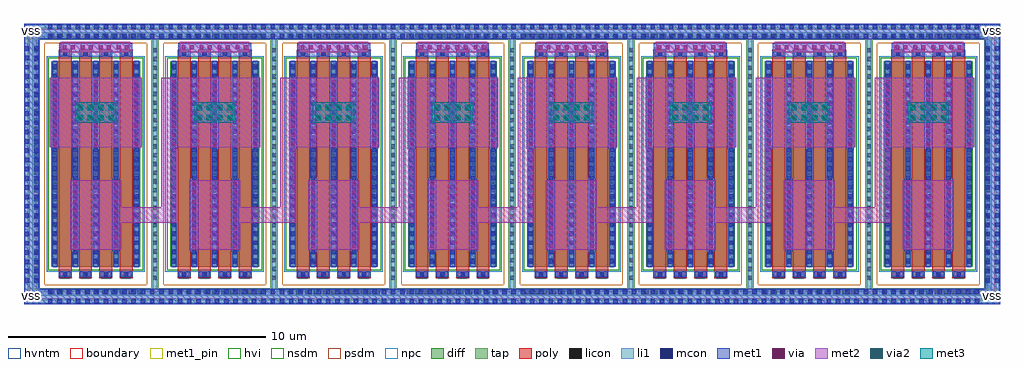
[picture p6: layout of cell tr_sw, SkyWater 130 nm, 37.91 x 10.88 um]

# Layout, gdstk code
from math import pi, radians
import gdstk
lib = gdstk.Library(unit=1e-6, precision=1e-09)
def R(c, l, rs):  # rectangles x0, y0, x1, y1
    for r in rs: c.add(gdstk.rectangle(r[:2], r[2:], *l))
def A(c, l, x, y, w, h, nx, ny, dx, dy):  # array of equal rectangles
    R(c, l, [(x+i*dx, y+j*dy, x+i*dx+w, y+j*dy+h) for i in range(nx) for j in range(ny)])
diff = (65, 20)
tap = (65, 44)
poly = (66, 20)
licon = (66, 44)
li1 = (67, 20)
mcon = (67, 44)
met1_pin = (68, 16)
met1 = (68, 20)
via = (68, 44)
met2 = (69, 20)
via2 = (69, 44)
met3 = (70, 20)
hvi = (75, 20)
nsdm = (93, 44)
psdm = (94, 20)
npc = (95, 20)
hvntm = (125, 20)
boundary = (235, 4)

via__li_m1 = lib.new_cell('via__LI_M1')
R(via__li_m1, li1, [(0.03,0.03,0.56,0.2)])
R(via__li_m1, mcon, [(0.03,0.03,0.2,0.2), (0.39,0.03,0.56,0.2)])
R(via__li_m1, met1, [(0,0,0.59,0.23)])

via__m2_m3 = lib.new_cell('via__M2_M3')
R(via__m2_m3, met2, [(0,0,0.8,0.4)])
R(via__m2_m3, via2, [(0.1,0.1,0.3,0.3), (0.1,0.1,0.3,0.3), (0.5,0.1,0.7,0.3), (0.5,0.1,0.7,0.3)])
R(via__m2_m3, met3, [(0,0,0.8,0.4)])

via__m1_m2 = lib.new_cell('via__M1_M2')
R(via__m1_m2, met1, [(0,0.05,0.7,0.35)])
R(via__m1_m2, via, [(0.115,0.125,0.265,0.275), (0.435,0.125,0.585,0.275)])
R(via__m1_m2, met2, [(0.05,0,0.65,0.4)])

tr_ds_cont = lib.new_cell('tr_ds_cont')
R(tr_ds_cont, met2, [(0,0.05,0.4,2.75)])
tr_ds_cont.add(gdstk.Reference(via__m1_m2, (0,0.7), rotation=3*pi/2))
tr_ds_cont.add(gdstk.Reference(via__m1_m2, (0,1.4), rotation=3*pi/2))
tr_ds_cont.add(gdstk.Reference(via__m1_m2, (0,2.1), rotation=3*pi/2))
tr_ds_cont.add(gdstk.Reference(via__m1_m2, (0,2.8), rotation=3*pi/2))

tr_gate_cont = lib.new_cell('tr_gate_cont')
R(tr_gate_cont, met1, [(0,0,2.83,0.53)])
R(tr_gate_cont, met2, [(0.065,0.18,2.765,0.58)])
tr_gate_cont.add(gdstk.Reference(via__m1_m2, (0.015,0.18)))
tr_gate_cont.add(gdstk.Reference(via__m1_m2, (0.715,0.18)))
tr_gate_cont.add(gdstk.Reference(via__m1_m2, (1.415,0.18)))
tr_gate_cont.add(gdstk.Reference(via__m1_m2, (2.115,0.18)))

sky130_fd_pr__nfet_g5v0d = lib.new_cell('sky130_fd_pr__nfet_g5v0d10v5_ZFHBSA')
R(sky130_fd_pr__nfet_g5v0d, diff, [(0.915,1.295,4.365,9.295)])
R(sky130_fd_pr__nfet_g5v0d, tap, [(0.185,0.185,5.095,0.475), (0.185,0.475,0.475,10.115), (4.805,0.475,5.095,10.115), (0.185,10.115,5.095,10.405)])
A(sky130_fd_pr__nfet_g5v0d, poly, 1.205, 0.855, 0.5, 8.88, 4, 1, 0.79, 0)
A(sky130_fd_pr__nfet_g5v0d, licon, 0.855, 0.245, 0.17, 0.17, 11, 2, 0.34, 9.93)
A(sky130_fd_pr__nfet_g5v0d, licon, 0.245, 0.79, 0.17, 0.17, 1, 27, 0, 0.34)
A(sky130_fd_pr__nfet_g5v0d, licon, 4.865, 0.79, 0.17, 0.17, 1, 27, 0, 0.34)
A(sky130_fd_pr__nfet_g5v0d, licon, 1.37, 0.935, 0.17, 0.17, 4, 2, 0.79, 8.55)
A(sky130_fd_pr__nfet_g5v0d, licon, 0.975, 1.47, 0.17, 0.17, 5, 23, 0.79, 0.34)
A(sky130_fd_pr__nfet_g5v0d, li1, 1.205, 0.935, 0.5, 0.17, 4, 2, 0.79, 8.55)
A(sky130_fd_pr__nfet_g5v0d, li1, 0.975, 1.275, 0.17, 8.04, 5, 1, 0.79, 0)
R(sky130_fd_pr__nfet_g5v0d, li1, [(0.245,0.245,5.035,0.415), (0.245,0.415,0.415,10.175), (4.865,0.415,5.035,10.175), (0.245,10.175,5.035,10.345)])
A(sky130_fd_pr__nfet_g5v0d, mcon, 1.37, 0.935, 0.17, 0.17, 4, 2, 0.79, 8.55)
A(sky130_fd_pr__nfet_g5v0d, mcon, 0.975, 1.43, 0.17, 0.17, 5, 22, 0.79, 0.36)
A(sky130_fd_pr__nfet_g5v0d, met1, 1.225, 0.905, 0.46, 0.23, 4, 2, 0.79, 8.55)
A(sky130_fd_pr__nfet_g5v0d, met1, 0.945, 1.295, 0.23, 8, 5, 1, 0.79, 0)
R(sky130_fd_pr__nfet_g5v0d, hvi, [(0,0,5.28,10.59)])
R(sky130_fd_pr__nfet_g5v0d, nsdm, [(0.79,1.17,4.49,9.42)])
R(sky130_fd_pr__nfet_g5v0d, psdm, [(0.06,0.06,5.22,0.6), (0.06,0.6,0.66,9.99), (4.62,0.6,5.22,9.99), (0.06,9.99,5.22,10.53)])
A(sky130_fd_pr__nfet_g5v0d, npc, 1.27, 0.835, 0.37, 0.37, 4, 2, 0.79, 8.55)
R(sky130_fd_pr__nfet_g5v0d, hvntm, [(0.73,1.11,4.55,9.48)])
R(sky130_fd_pr__nfet_g5v0d, boundary, [(0.33,0.33,4.95,10.26)])

tr_sw = lib.new_cell('tr_sw')
R(tr_sw, li1, [(-0.115,-0.115,0.415,10.705), (-0.115,-0.115,37.735,0.415), (37.205,-0.115,37.735,10.705), (-0.115,10.175,37.735,10.705)])
R(tr_sw, met1_pin, [(-0.145,-0.145,0.44,0.44), (37.18,-0.145,37.765,0.44), (-0.145,10.15,0.44,10.735), (37.18,10.15,37.765,10.735)])
R(tr_sw, met1, [(-0.145,-0.145,0.445,10.735), (-0.145,-0.145,37.765,0.445), (37.175,-0.145,37.765,10.735), (-0.145,10.145,37.765,10.735)])
A(tr_sw, met2, 1.65, 1.965, 1.98, 2.7, 8, 1, 4.62, 0)
A(tr_sw, met2, 2.05, 2.665, 1.18, 1.3, 8, 2, 4.62, 3.975)
A(tr_sw, met2, 0.86, 5.94, 3.56, 2.7, 8, 1, 4.62, 0)
A(tr_sw, met2, 1.26, 6.64, 2.76, 1.3, 8, 1, 4.62, 0)
tr_sw.add(gdstk.FlexPath([(2.64,3.965),(2.64,2.665)], 0.8, ends="flush", simple_path=True, layer=69, datatype=20))  # met2
tr_sw.add(gdstk.FlexPath([(7.26,3.965),(7.26,2.665)], 0.8, ends="flush", simple_path=True, layer=69, datatype=20))  # met2
tr_sw.add(gdstk.FlexPath([(11.88,3.965),(11.88,2.665)], 0.8, ends="flush", simple_path=True, layer=69, datatype=20))  # met2
tr_sw.add(gdstk.FlexPath([(16.5,3.965),(16.5,2.665)], 0.8, ends="flush", simple_path=True, layer=69, datatype=20))  # met2
tr_sw.add(gdstk.FlexPath([(21.12,3.965),(21.12,2.665)], 0.8, ends="flush", simple_path=True, layer=69, datatype=20))  # met2
tr_sw.add(gdstk.FlexPath([(25.74,3.965),(25.74,2.665)], 0.8, ends="flush", simple_path=True, layer=69, datatype=20))  # met2
tr_sw.add(gdstk.FlexPath([(30.36,3.965),(30.36,2.665)], 0.8, ends="flush", simple_path=True, layer=69, datatype=20))  # met2
tr_sw.add(gdstk.FlexPath([(34.98,3.965),(34.98,2.665)], 0.8, ends="flush", simple_path=True, layer=69, datatype=20))  # met2
tr_sw.add(gdstk.FlexPath([(7.9,3.315),(10.1,3.315),(10.1,8.64)], 0.6, ends="flush", simple_path=True, layer=69, datatype=20))  # met2
tr_sw.add(gdstk.FlexPath([(3.58,3.315),(5.48,3.315),(5.48,8.64)], 0.6, ends="flush", simple_path=True, layer=69, datatype=20))  # met2
tr_sw.add(gdstk.FlexPath([(12.82,3.315),(14.72,3.315),(14.72,8.64)], 0.6, ends="flush", simple_path=True, layer=69, datatype=20))  # met2
tr_sw.add(gdstk.FlexPath([(17.44,3.315),(19.34,3.315),(19.34,8.64)], 0.6, ends="flush", simple_path=True, layer=69, datatype=20))  # met2
tr_sw.add(gdstk.FlexPath([(22.06,3.315),(23.96,3.315),(23.96,8.64)], 0.6, ends="flush", simple_path=True, layer=69, datatype=20))  # met2
tr_sw.add(gdstk.FlexPath([(26.68,3.315),(28.58,3.315),(28.58,8.64)], 0.6, ends="flush", simple_path=True, layer=69, datatype=20))  # met2
tr_sw.add(gdstk.FlexPath([(31.3,3.315),(33.2,3.315),(33.2,8.64)], 0.6, ends="flush", simple_path=True, layer=69, datatype=20))  # met2
tr_sw.add(gdstk.FlexPath([(2.64,7.69),(2.64,6.89)], 0.8, ends="flush", simple_path=True, layer=70, datatype=20))  # met3
tr_sw.add(gdstk.FlexPath([(7.26,7.69),(7.26,6.89)], 0.8, ends="flush", simple_path=True, layer=70, datatype=20))  # met3
tr_sw.add(gdstk.FlexPath([(11.88,7.69),(11.88,6.89)], 0.8, ends="flush", simple_path=True, layer=70, datatype=20))  # met3
tr_sw.add(gdstk.FlexPath([(16.5,7.69),(16.5,6.89)], 0.8, ends="flush", simple_path=True, layer=70, datatype=20))  # met3
tr_sw.add(gdstk.FlexPath([(21.12,7.69),(21.12,6.89)], 0.8, ends="flush", simple_path=True, layer=70, datatype=20))  # met3
tr_sw.add(gdstk.FlexPath([(25.74,7.69),(25.74,6.89)], 0.8, ends="flush", simple_path=True, layer=70, datatype=20))  # met3
tr_sw.add(gdstk.FlexPath([(30.36,7.69),(30.36,6.89)], 0.8, ends="flush", simple_path=True, layer=70, datatype=20))  # met3
tr_sw.add(gdstk.FlexPath([(34.98,7.69),(34.98,6.89)], 0.8, ends="flush", simple_path=True, layer=70, datatype=20))  # met3
tr_sw.add(gdstk.Reference(via__li_m1, (0.445,0.89), rotation=pi))
tr_sw.add(gdstk.Reference(via__li_m1, (37.765,0.89), rotation=pi))
tr_sw.add(gdstk.Reference(via__li_m1, (0.445,1.25), rotation=pi))
tr_sw.add(gdstk.Reference(via__li_m1, (37.765,1.25), rotation=pi))
tr_sw.add(gdstk.Reference(via__li_m1, (0.445,1.61), rotation=pi))
tr_sw.add(gdstk.Reference(via__li_m1, (37.765,1.61), rotation=pi))
tr_sw.add(gdstk.Reference(via__li_m1, (0.445,1.97), rotation=pi))
tr_sw.add(gdstk.Reference(via__li_m1, (37.765,1.97), rotation=pi))
tr_sw.add(gdstk.Reference(via__li_m1, (0.445,2.33), rotation=pi))
tr_sw.add(gdstk.Reference(via__li_m1, (37.765,2.33), rotation=pi))
tr_sw.add(gdstk.Reference(via__li_m1, (0.445,2.69), rotation=pi))
tr_sw.add(gdstk.Reference(via__li_m1, (37.765,2.69), rotation=pi))
tr_sw.add(gdstk.Reference(via__li_m1, (0.445,3.05), rotation=pi))
tr_sw.add(gdstk.Reference(via__li_m1, (37.765,3.05), rotation=pi))
tr_sw.add(gdstk.Reference(via__li_m1, (0.445,3.41), rotation=pi))
tr_sw.add(gdstk.Reference(via__li_m1, (37.765,3.41), rotation=pi))
tr_sw.add(gdstk.Reference(via__li_m1, (0.445,3.77), rotation=pi))
tr_sw.add(gdstk.Reference(via__li_m1, (37.765,3.77), rotation=pi))
tr_sw.add(gdstk.Reference(via__li_m1, (0.445,4.13), rotation=pi))
tr_sw.add(gdstk.Reference(via__li_m1, (37.765,4.13), rotation=pi))
tr_sw.add(gdstk.Reference(via__li_m1, (0.445,4.49), rotation=pi))
tr_sw.add(gdstk.Reference(via__li_m1, (37.765,4.49), rotation=pi))
tr_sw.add(gdstk.Reference(via__li_m1, (0.445,4.85), rotation=pi))
tr_sw.add(gdstk.Reference(via__li_m1, (37.765,4.85), rotation=pi))
tr_sw.add(gdstk.Reference(via__li_m1, (0.445,5.21), rotation=pi))
tr_sw.add(gdstk.Reference(via__li_m1, (37.765,5.21), rotation=pi))
tr_sw.add(gdstk.Reference(via__li_m1, (0.445,5.57), rotation=pi))
tr_sw.add(gdstk.Reference(via__li_m1, (37.765,5.57), rotation=pi))
tr_sw.add(gdstk.Reference(via__li_m1, (0.445,5.93), rotation=pi))
tr_sw.add(gdstk.Reference(via__li_m1, (37.765,5.93), rotation=pi))
tr_sw.add(gdstk.Reference(via__li_m1, (0.445,6.29), rotation=pi))
tr_sw.add(gdstk.Reference(via__li_m1, (37.765,6.29), rotation=pi))
tr_sw.add(gdstk.Reference(via__li_m1, (0.445,6.65), rotation=pi))
tr_sw.add(gdstk.Reference(via__li_m1, (37.765,6.65), rotation=pi))
tr_sw.add(gdstk.Reference(via__li_m1, (0.445,7.01), rotation=pi))
tr_sw.add(gdstk.Reference(via__li_m1, (37.765,7.01), rotation=pi))
tr_sw.add(gdstk.Reference(via__li_m1, (0.445,7.37), rotation=pi))
tr_sw.add(gdstk.Reference(via__li_m1, (37.765,7.37), rotation=pi))
tr_sw.add(gdstk.Reference(via__li_m1, (0.445,7.73), rotation=pi))
tr_sw.add(gdstk.Reference(via__li_m1, (37.765,7.73), rotation=pi))
tr_sw.add(gdstk.Reference(via__li_m1, (0.445,8.09), rotation=pi))
tr_sw.add(gdstk.Reference(via__li_m1, (37.765,8.09), rotation=pi))
tr_sw.add(gdstk.Reference(via__li_m1, (0.445,8.45), rotation=pi))
tr_sw.add(gdstk.Reference(via__li_m1, (37.765,8.45), rotation=pi))
tr_sw.add(gdstk.Reference(via__li_m1, (0.445,8.81), rotation=pi))
tr_sw.add(gdstk.Reference(via__li_m1, (37.765,8.81), rotation=pi))
tr_sw.add(gdstk.Reference(via__li_m1, (0.445,9.17), rotation=pi))
tr_sw.add(gdstk.Reference(via__li_m1, (37.765,9.17), rotation=pi))
tr_sw.add(gdstk.Reference(via__li_m1, (0.445,9.53), rotation=pi))
tr_sw.add(gdstk.Reference(via__li_m1, (37.765,9.53), rotation=pi))
tr_sw.add(gdstk.Reference(via__li_m1, (0.445,9.89), rotation=pi))
tr_sw.add(gdstk.Reference(via__li_m1, (37.765,9.89), rotation=pi))
tr_sw.add(gdstk.Reference(via__m2_m3, (1.84,7.69), rotation=3*pi/2))
tr_sw.add(gdstk.Reference(via__m2_m3, (2.24,7.69), rotation=3*pi/2))
tr_sw.add(gdstk.Reference(via__m2_m3, (2.64,7.69), rotation=3*pi/2))
tr_sw.add(gdstk.Reference(via__m2_m3, (3.04,7.69), rotation=3*pi/2))
tr_sw.add(gdstk.Reference(via__m2_m3, (6.46,7.69), rotation=3*pi/2))
tr_sw.add(gdstk.Reference(via__m2_m3, (6.86,7.69), rotation=3*pi/2))
tr_sw.add(gdstk.Reference(via__m2_m3, (7.26,7.69), rotation=3*pi/2))
tr_sw.add(gdstk.Reference(via__m2_m3, (7.66,7.69), rotation=3*pi/2))
tr_sw.add(gdstk.Reference(via__m2_m3, (11.08,7.69), rotation=3*pi/2))
tr_sw.add(gdstk.Reference(via__m2_m3, (11.48,7.69), rotation=3*pi/2))
tr_sw.add(gdstk.Reference(via__m2_m3, (11.88,7.69), rotation=3*pi/2))
tr_sw.add(gdstk.Reference(via__m2_m3, (12.28,7.69), rotation=3*pi/2))
tr_sw.add(gdstk.Reference(via__m2_m3, (15.7,7.69), rotation=3*pi/2))
tr_sw.add(gdstk.Reference(via__m2_m3, (16.1,7.69), rotation=3*pi/2))
tr_sw.add(gdstk.Reference(via__m2_m3, (16.5,7.69), rotation=3*pi/2))
tr_sw.add(gdstk.Reference(via__m2_m3, (16.9,7.69), rotation=3*pi/2))
tr_sw.add(gdstk.Reference(via__m2_m3, (20.32,7.69), rotation=3*pi/2))
tr_sw.add(gdstk.Reference(via__m2_m3, (20.72,7.69), rotation=3*pi/2))
tr_sw.add(gdstk.Reference(via__m2_m3, (21.12,7.69), rotation=3*pi/2))
tr_sw.add(gdstk.Reference(via__m2_m3, (21.52,7.69), rotation=3*pi/2))
tr_sw.add(gdstk.Reference(via__m2_m3, (24.94,7.69), rotation=3*pi/2))
tr_sw.add(gdstk.Reference(via__m2_m3, (25.34,7.69), rotation=3*pi/2))
tr_sw.add(gdstk.Reference(via__m2_m3, (25.74,7.69), rotation=3*pi/2))
tr_sw.add(gdstk.Reference(via__m2_m3, (26.14,7.69), rotation=3*pi/2))
tr_sw.add(gdstk.Reference(via__m2_m3, (29.56,7.69), rotation=3*pi/2))
tr_sw.add(gdstk.Reference(via__m2_m3, (29.96,7.69), rotation=3*pi/2))
tr_sw.add(gdstk.Reference(via__m2_m3, (30.36,7.69), rotation=3*pi/2))
tr_sw.add(gdstk.Reference(via__m2_m3, (30.76,7.69), rotation=3*pi/2))
tr_sw.add(gdstk.Reference(via__m2_m3, (34.18,7.69), rotation=3*pi/2))
tr_sw.add(gdstk.Reference(via__m2_m3, (34.58,7.69), rotation=3*pi/2))
tr_sw.add(gdstk.Reference(via__m2_m3, (34.98,7.69), rotation=3*pi/2))
tr_sw.add(gdstk.Reference(via__m2_m3, (35.38,7.69), rotation=3*pi/2))
tr_sw.add(gdstk.Reference(tr_ds_cont, (1.65,1.915)))
tr_sw.add(gdstk.Reference(tr_ds_cont, (3.23,1.915)))
tr_sw.add(gdstk.Reference(tr_ds_cont, (6.27,1.915)))
tr_sw.add(gdstk.Reference(tr_ds_cont, (7.85,1.915)))
tr_sw.add(gdstk.Reference(tr_ds_cont, (10.89,1.915)))
tr_sw.add(gdstk.Reference(tr_ds_cont, (12.47,1.915)))
tr_sw.add(gdstk.Reference(tr_ds_cont, (15.51,1.915)))
tr_sw.add(gdstk.Reference(tr_ds_cont, (17.09,1.915)))
tr_sw.add(gdstk.Reference(tr_ds_cont, (20.13,1.915)))
tr_sw.add(gdstk.Reference(tr_ds_cont, (21.71,1.915)))
tr_sw.add(gdstk.Reference(tr_ds_cont, (24.75,1.915)))
tr_sw.add(gdstk.Reference(tr_ds_cont, (26.33,1.915)))
tr_sw.add(gdstk.Reference(tr_ds_cont, (29.37,1.915)))
tr_sw.add(gdstk.Reference(tr_ds_cont, (30.95,1.915)))
tr_sw.add(gdstk.Reference(tr_ds_cont, (33.99,1.915)))
tr_sw.add(gdstk.Reference(tr_ds_cont, (35.57,1.915)))
tr_sw.add(gdstk.Reference(tr_ds_cont, (0.86,5.89)))
tr_sw.add(gdstk.Reference(tr_ds_cont, (2.44,5.89)))
tr_sw.add(gdstk.Reference(tr_ds_cont, (4.02,5.89)))
tr_sw.add(gdstk.Reference(tr_ds_cont, (5.48,5.89)))
tr_sw.add(gdstk.Reference(tr_ds_cont, (7.06,5.89)))
tr_sw.add(gdstk.Reference(tr_ds_cont, (8.64,5.89)))
tr_sw.add(gdstk.Reference(tr_ds_cont, (10.1,5.89)))
tr_sw.add(gdstk.Reference(tr_ds_cont, (11.68,5.89)))
tr_sw.add(gdstk.Reference(tr_ds_cont, (13.26,5.89)))
tr_sw.add(gdstk.Reference(tr_ds_cont, (14.72,5.89)))
tr_sw.add(gdstk.Reference(tr_ds_cont, (16.3,5.89)))
tr_sw.add(gdstk.Reference(tr_ds_cont, (17.88,5.89)))
tr_sw.add(gdstk.Reference(tr_ds_cont, (19.34,5.89)))
tr_sw.add(gdstk.Reference(tr_ds_cont, (20.92,5.89)))
tr_sw.add(gdstk.Reference(tr_ds_cont, (22.5,5.89)))
tr_sw.add(gdstk.Reference(tr_ds_cont, (23.96,5.89)))
tr_sw.add(gdstk.Reference(tr_ds_cont, (25.54,5.89)))
tr_sw.add(gdstk.Reference(tr_ds_cont, (27.12,5.89)))
tr_sw.add(gdstk.Reference(tr_ds_cont, (28.58,5.89)))
tr_sw.add(gdstk.Reference(tr_ds_cont, (30.16,5.89)))
tr_sw.add(gdstk.Reference(tr_ds_cont, (31.74,5.89)))
tr_sw.add(gdstk.Reference(tr_ds_cont, (33.2,5.89)))
tr_sw.add(gdstk.Reference(tr_ds_cont, (34.78,5.89)))
tr_sw.add(gdstk.Reference(tr_ds_cont, (36.36,5.89)))
tr_sw.add(gdstk.Reference(tr_gate_cont, (1.225,9.455)))
tr_sw.add(gdstk.Reference(tr_gate_cont, (5.845,9.455)))
tr_sw.add(gdstk.Reference(tr_gate_cont, (10.465,9.455)))
tr_sw.add(gdstk.Reference(tr_gate_cont, (15.085,9.455)))
tr_sw.add(gdstk.Reference(tr_gate_cont, (19.705,9.455)))
tr_sw.add(gdstk.Reference(tr_gate_cont, (24.325,9.455)))
tr_sw.add(gdstk.Reference(tr_gate_cont, (28.945,9.455)))
tr_sw.add(gdstk.Reference(tr_gate_cont, (33.565,9.455)))
tr_sw.add(gdstk.Reference(via__li_m1, (0.76,0.445), rotation=3*pi/2))
tr_sw.add(gdstk.Reference(via__li_m1, (1.12,0.445), rotation=3*pi/2))
tr_sw.add(gdstk.Reference(via__li_m1, (1.48,0.445), rotation=3*pi/2))
tr_sw.add(gdstk.Reference(via__li_m1, (1.84,0.445), rotation=3*pi/2))
tr_sw.add(gdstk.Reference(via__li_m1, (2.2,0.445), rotation=3*pi/2))
tr_sw.add(gdstk.Reference(via__li_m1, (2.56,0.445), rotation=3*pi/2))
tr_sw.add(gdstk.Reference(via__li_m1, (2.92,0.445), rotation=3*pi/2))
tr_sw.add(gdstk.Reference(via__li_m1, (3.28,0.445), rotation=3*pi/2))
tr_sw.add(gdstk.Reference(via__li_m1, (3.64,0.445), rotation=3*pi/2))
tr_sw.add(gdstk.Reference(via__li_m1, (4,0.445), rotation=3*pi/2))
tr_sw.add(gdstk.Reference(via__li_m1, (4.36,0.445), rotation=3*pi/2))
tr_sw.add(gdstk.Reference(via__li_m1, (4.72,0.445), rotation=3*pi/2))
tr_sw.add(gdstk.Reference(via__li_m1, (5.08,0.445), rotation=3*pi/2))
tr_sw.add(gdstk.Reference(via__li_m1, (5.44,0.445), rotation=3*pi/2))
tr_sw.add(gdstk.Reference(via__li_m1, (5.8,0.445), rotation=3*pi/2))
tr_sw.add(gdstk.Reference(via__li_m1, (6.16,0.445), rotation=3*pi/2))
tr_sw.add(gdstk.Reference(via__li_m1, (6.52,0.445), rotation=3*pi/2))
tr_sw.add(gdstk.Reference(via__li_m1, (6.88,0.445), rotation=3*pi/2))
tr_sw.add(gdstk.Reference(via__li_m1, (7.24,0.445), rotation=3*pi/2))
tr_sw.add(gdstk.Reference(via__li_m1, (7.6,0.445), rotation=3*pi/2))
tr_sw.add(gdstk.Reference(via__li_m1, (7.96,0.445), rotation=3*pi/2))
tr_sw.add(gdstk.Reference(via__li_m1, (8.32,0.445), rotation=3*pi/2))
tr_sw.add(gdstk.Reference(via__li_m1, (8.68,0.445), rotation=3*pi/2))
tr_sw.add(gdstk.Reference(via__li_m1, (9.04,0.445), rotation=3*pi/2))
tr_sw.add(gdstk.Reference(via__li_m1, (9.4,0.445), rotation=3*pi/2))
tr_sw.add(gdstk.Reference(via__li_m1, (9.76,0.445), rotation=3*pi/2))
tr_sw.add(gdstk.Reference(via__li_m1, (10.12,0.445), rotation=3*pi/2))
tr_sw.add(gdstk.Reference(via__li_m1, (10.48,0.445), rotation=3*pi/2))
tr_sw.add(gdstk.Reference(via__li_m1, (10.84,0.445), rotation=3*pi/2))
tr_sw.add(gdstk.Reference(via__li_m1, (11.2,0.445), rotation=3*pi/2))
tr_sw.add(gdstk.Reference(via__li_m1, (11.56,0.445), rotation=3*pi/2))
tr_sw.add(gdstk.Reference(via__li_m1, (11.92,0.445), rotation=3*pi/2))
tr_sw.add(gdstk.Reference(via__li_m1, (12.28,0.445), rotation=3*pi/2))
tr_sw.add(gdstk.Reference(via__li_m1, (12.64,0.445), rotation=3*pi/2))
tr_sw.add(gdstk.Reference(via__li_m1, (13,0.445), rotation=3*pi/2))
tr_sw.add(gdstk.Reference(via__li_m1, (13.36,0.445), rotation=3*pi/2))
tr_sw.add(gdstk.Reference(via__li_m1, (13.72,0.445), rotation=3*pi/2))
tr_sw.add(gdstk.Reference(via__li_m1, (14.08,0.445), rotation=3*pi/2))
tr_sw.add(gdstk.Reference(via__li_m1, (14.44,0.445), rotation=3*pi/2))
tr_sw.add(gdstk.Reference(via__li_m1, (14.8,0.445), rotation=3*pi/2))
tr_sw.add(gdstk.Reference(via__li_m1, (15.16,0.445), rotation=3*pi/2))
tr_sw.add(gdstk.Reference(via__li_m1, (15.52,0.445), rotation=3*pi/2))
tr_sw.add(gdstk.Reference(via__li_m1, (15.88,0.445), rotation=3*pi/2))
tr_sw.add(gdstk.Reference(via__li_m1, (16.24,0.445), rotation=3*pi/2))
tr_sw.add(gdstk.Reference(via__li_m1, (16.6,0.445), rotation=3*pi/2))
tr_sw.add(gdstk.Reference(via__li_m1, (16.96,0.445), rotation=3*pi/2))
tr_sw.add(gdstk.Reference(via__li_m1, (17.32,0.445), rotation=3*pi/2))
tr_sw.add(gdstk.Reference(via__li_m1, (17.68,0.445), rotation=3*pi/2))
tr_sw.add(gdstk.Reference(via__li_m1, (18.04,0.445), rotation=3*pi/2))
tr_sw.add(gdstk.Reference(via__li_m1, (18.4,0.445), rotation=3*pi/2))
tr_sw.add(gdstk.Reference(via__li_m1, (18.76,0.445), rotation=3*pi/2))
tr_sw.add(gdstk.Reference(via__li_m1, (19.12,0.445), rotation=3*pi/2))
tr_sw.add(gdstk.Reference(via__li_m1, (19.48,0.445), rotation=3*pi/2))
tr_sw.add(gdstk.Reference(via__li_m1, (19.84,0.445), rotation=3*pi/2))
tr_sw.add(gdstk.Reference(via__li_m1, (20.2,0.445), rotation=3*pi/2))
tr_sw.add(gdstk.Reference(via__li_m1, (20.56,0.445), rotation=3*pi/2))
tr_sw.add(gdstk.Reference(via__li_m1, (20.92,0.445), rotation=3*pi/2))
tr_sw.add(gdstk.Reference(via__li_m1, (21.28,0.445), rotation=3*pi/2))
tr_sw.add(gdstk.Reference(via__li_m1, (21.64,0.445), rotation=3*pi/2))
tr_sw.add(gdstk.Reference(via__li_m1, (22,0.445), rotation=3*pi/2))
tr_sw.add(gdstk.Reference(via__li_m1, (22.36,0.445), rotation=3*pi/2))
tr_sw.add(gdstk.Reference(via__li_m1, (22.72,0.445), rotation=3*pi/2))
tr_sw.add(gdstk.Reference(via__li_m1, (23.08,0.445), rotation=3*pi/2))
tr_sw.add(gdstk.Reference(via__li_m1, (23.44,0.445), rotation=3*pi/2))
tr_sw.add(gdstk.Reference(via__li_m1, (23.8,0.445), rotation=3*pi/2))
tr_sw.add(gdstk.Reference(via__li_m1, (24.16,0.445), rotation=3*pi/2))
tr_sw.add(gdstk.Reference(via__li_m1, (24.52,0.445), rotation=3*pi/2))
tr_sw.add(gdstk.Reference(via__li_m1, (24.88,0.445), rotation=3*pi/2))
tr_sw.add(gdstk.Reference(via__li_m1, (25.24,0.445), rotation=3*pi/2))
tr_sw.add(gdstk.Reference(via__li_m1, (25.6,0.445), rotation=3*pi/2))
tr_sw.add(gdstk.Reference(via__li_m1, (25.96,0.445), rotation=3*pi/2))
tr_sw.add(gdstk.Reference(via__li_m1, (26.32,0.445), rotation=3*pi/2))
tr_sw.add(gdstk.Reference(via__li_m1, (26.68,0.445), rotation=3*pi/2))
tr_sw.add(gdstk.Reference(via__li_m1, (27.04,0.445), rotation=3*pi/2))
tr_sw.add(gdstk.Reference(via__li_m1, (27.4,0.445), rotation=3*pi/2))
tr_sw.add(gdstk.Reference(via__li_m1, (27.76,0.445), rotation=3*pi/2))
tr_sw.add(gdstk.Reference(via__li_m1, (28.12,0.445), rotation=3*pi/2))
tr_sw.add(gdstk.Reference(via__li_m1, (28.48,0.445), rotation=3*pi/2))
tr_sw.add(gdstk.Reference(via__li_m1, (28.84,0.445), rotation=3*pi/2))
tr_sw.add(gdstk.Reference(via__li_m1, (29.2,0.445), rotation=3*pi/2))
tr_sw.add(gdstk.Reference(via__li_m1, (29.56,0.445), rotation=3*pi/2))
tr_sw.add(gdstk.Reference(via__li_m1, (29.92,0.445), rotation=3*pi/2))
tr_sw.add(gdstk.Reference(via__li_m1, (30.28,0.445), rotation=3*pi/2))
tr_sw.add(gdstk.Reference(via__li_m1, (30.64,0.445), rotation=3*pi/2))
tr_sw.add(gdstk.Reference(via__li_m1, (31,0.445), rotation=3*pi/2))
tr_sw.add(gdstk.Reference(via__li_m1, (31.36,0.445), rotation=3*pi/2))
tr_sw.add(gdstk.Reference(via__li_m1, (31.72,0.445), rotation=3*pi/2))
tr_sw.add(gdstk.Reference(via__li_m1, (32.08,0.445), rotation=3*pi/2))
tr_sw.add(gdstk.Reference(via__li_m1, (32.44,0.445), rotation=3*pi/2))
tr_sw.add(gdstk.Reference(via__li_m1, (32.8,0.445), rotation=3*pi/2))
tr_sw.add(gdstk.Reference(via__li_m1, (33.16,0.445), rotation=3*pi/2))
tr_sw.add(gdstk.Reference(via__li_m1, (33.52,0.445), rotation=3*pi/2))
tr_sw.add(gdstk.Reference(via__li_m1, (33.88,0.445), rotation=3*pi/2))
tr_sw.add(gdstk.Reference(via__li_m1, (34.24,0.445), rotation=3*pi/2))
tr_sw.add(gdstk.Reference(via__li_m1, (34.6,0.445), rotation=3*pi/2))
tr_sw.add(gdstk.Reference(via__li_m1, (34.96,0.445), rotation=3*pi/2))
tr_sw.add(gdstk.Reference(via__li_m1, (35.32,0.445), rotation=3*pi/2))
tr_sw.add(gdstk.Reference(via__li_m1, (35.68,0.445), rotation=3*pi/2))
tr_sw.add(gdstk.Reference(via__li_m1, (36.04,0.445), rotation=3*pi/2))
tr_sw.add(gdstk.Reference(via__li_m1, (36.4,0.445), rotation=3*pi/2))
tr_sw.add(gdstk.Reference(via__li_m1, (36.76,0.445), rotation=3*pi/2))
tr_sw.add(gdstk.Reference(via__li_m1, (0.76,10.735), rotation=3*pi/2))
tr_sw.add(gdstk.Reference(via__li_m1, (1.12,10.735), rotation=3*pi/2))
tr_sw.add(gdstk.Reference(via__li_m1, (1.48,10.735), rotation=3*pi/2))
tr_sw.add(gdstk.Reference(via__li_m1, (1.84,10.735), rotation=3*pi/2))
tr_sw.add(gdstk.Reference(via__li_m1, (2.2,10.735), rotation=3*pi/2))
tr_sw.add(gdstk.Reference(via__li_m1, (2.56,10.735), rotation=3*pi/2))
tr_sw.add(gdstk.Reference(via__li_m1, (2.92,10.735), rotation=3*pi/2))
tr_sw.add(gdstk.Reference(via__li_m1, (3.28,10.735), rotation=3*pi/2))
tr_sw.add(gdstk.Reference(via__li_m1, (3.64,10.735), rotation=3*pi/2))
tr_sw.add(gdstk.Reference(via__li_m1, (4,10.735), rotation=3*pi/2))
tr_sw.add(gdstk.Reference(via__li_m1, (4.36,10.735), rotation=3*pi/2))
tr_sw.add(gdstk.Reference(via__li_m1, (4.72,10.735), rotation=3*pi/2))
tr_sw.add(gdstk.Reference(via__li_m1, (5.08,10.735), rotation=3*pi/2))
tr_sw.add(gdstk.Reference(via__li_m1, (5.44,10.735), rotation=3*pi/2))
tr_sw.add(gdstk.Reference(via__li_m1, (5.8,10.735), rotation=3*pi/2))
tr_sw.add(gdstk.Reference(via__li_m1, (6.16,10.735), rotation=3*pi/2))
tr_sw.add(gdstk.Reference(via__li_m1, (6.52,10.735), rotation=3*pi/2))
tr_sw.add(gdstk.Reference(via__li_m1, (6.88,10.735), rotation=3*pi/2))
tr_sw.add(gdstk.Reference(via__li_m1, (7.24,10.735), rotation=3*pi/2))
tr_sw.add(gdstk.Reference(via__li_m1, (7.6,10.735), rotation=3*pi/2))
tr_sw.add(gdstk.Reference(via__li_m1, (7.96,10.735), rotation=3*pi/2))
tr_sw.add(gdstk.Reference(via__li_m1, (8.32,10.735), rotation=3*pi/2))
tr_sw.add(gdstk.Reference(via__li_m1, (8.68,10.735), rotation=3*pi/2))
tr_sw.add(gdstk.Reference(via__li_m1, (9.04,10.735), rotation=3*pi/2))
tr_sw.add(gdstk.Reference(via__li_m1, (9.4,10.735), rotation=3*pi/2))
tr_sw.add(gdstk.Reference(via__li_m1, (9.76,10.735), rotation=3*pi/2))
tr_sw.add(gdstk.Reference(via__li_m1, (10.12,10.735), rotation=3*pi/2))
tr_sw.add(gdstk.Reference(via__li_m1, (10.48,10.735), rotation=3*pi/2))
tr_sw.add(gdstk.Reference(via__li_m1, (10.84,10.735), rotation=3*pi/2))
tr_sw.add(gdstk.Reference(via__li_m1, (11.2,10.735), rotation=3*pi/2))
tr_sw.add(gdstk.Reference(via__li_m1, (11.56,10.735), rotation=3*pi/2))
tr_sw.add(gdstk.Reference(via__li_m1, (11.92,10.735), rotation=3*pi/2))
tr_sw.add(gdstk.Reference(via__li_m1, (12.28,10.735), rotation=3*pi/2))
tr_sw.add(gdstk.Reference(via__li_m1, (12.64,10.735), rotation=3*pi/2))
tr_sw.add(gdstk.Reference(via__li_m1, (13,10.735), rotation=3*pi/2))
tr_sw.add(gdstk.Reference(via__li_m1, (13.36,10.735), rotation=3*pi/2))
tr_sw.add(gdstk.Reference(via__li_m1, (13.72,10.735), rotation=3*pi/2))
tr_sw.add(gdstk.Reference(via__li_m1, (14.08,10.735), rotation=3*pi/2))
tr_sw.add(gdstk.Reference(via__li_m1, (14.44,10.735), rotation=3*pi/2))
tr_sw.add(gdstk.Reference(via__li_m1, (14.8,10.735), rotation=3*pi/2))
tr_sw.add(gdstk.Reference(via__li_m1, (15.16,10.735), rotation=3*pi/2))
tr_sw.add(gdstk.Reference(via__li_m1, (15.52,10.735), rotation=3*pi/2))
tr_sw.add(gdstk.Reference(via__li_m1, (15.88,10.735), rotation=3*pi/2))
tr_sw.add(gdstk.Reference(via__li_m1, (16.24,10.735), rotation=3*pi/2))
tr_sw.add(gdstk.Reference(via__li_m1, (16.6,10.735), rotation=3*pi/2))
tr_sw.add(gdstk.Reference(via__li_m1, (16.96,10.735), rotation=3*pi/2))
tr_sw.add(gdstk.Reference(via__li_m1, (17.32,10.735), rotation=3*pi/2))
tr_sw.add(gdstk.Reference(via__li_m1, (17.68,10.735), rotation=3*pi/2))
tr_sw.add(gdstk.Reference(via__li_m1, (18.04,10.735), rotation=3*pi/2))
tr_sw.add(gdstk.Reference(via__li_m1, (18.4,10.735), rotation=3*pi/2))
tr_sw.add(gdstk.Reference(via__li_m1, (18.76,10.735), rotation=3*pi/2))
tr_sw.add(gdstk.Reference(via__li_m1, (19.12,10.735), rotation=3*pi/2))
tr_sw.add(gdstk.Reference(via__li_m1, (19.48,10.735), rotation=3*pi/2))
tr_sw.add(gdstk.Reference(via__li_m1, (19.84,10.735), rotation=3*pi/2))
tr_sw.add(gdstk.Reference(via__li_m1, (20.2,10.735), rotation=3*pi/2))
tr_sw.add(gdstk.Reference(via__li_m1, (20.56,10.735), rotation=3*pi/2))
tr_sw.add(gdstk.Reference(via__li_m1, (20.92,10.735), rotation=3*pi/2))
tr_sw.add(gdstk.Reference(via__li_m1, (21.28,10.735), rotation=3*pi/2))
tr_sw.add(gdstk.Reference(via__li_m1, (21.64,10.735), rotation=3*pi/2))
tr_sw.add(gdstk.Reference(via__li_m1, (22,10.735), rotation=3*pi/2))
tr_sw.add(gdstk.Reference(via__li_m1, (22.36,10.735), rotation=3*pi/2))
tr_sw.add(gdstk.Reference(via__li_m1, (22.72,10.735), rotation=3*pi/2))
tr_sw.add(gdstk.Reference(via__li_m1, (23.08,10.735), rotation=3*pi/2))
tr_sw.add(gdstk.Reference(via__li_m1, (23.44,10.735), rotation=3*pi/2))
tr_sw.add(gdstk.Reference(via__li_m1, (23.8,10.735), rotation=3*pi/2))
tr_sw.add(gdstk.Reference(via__li_m1, (24.16,10.735), rotation=3*pi/2))
tr_sw.add(gdstk.Reference(via__li_m1, (24.52,10.735), rotation=3*pi/2))
tr_sw.add(gdstk.Reference(via__li_m1, (24.88,10.735), rotation=3*pi/2))
tr_sw.add(gdstk.Reference(via__li_m1, (25.24,10.735), rotation=3*pi/2))
tr_sw.add(gdstk.Reference(via__li_m1, (25.6,10.735), rotation=3*pi/2))
tr_sw.add(gdstk.Reference(via__li_m1, (25.96,10.735), rotation=3*pi/2))
tr_sw.add(gdstk.Reference(via__li_m1, (26.32,10.735), rotation=3*pi/2))
tr_sw.add(gdstk.Reference(via__li_m1, (26.68,10.735), rotation=3*pi/2))
tr_sw.add(gdstk.Reference(via__li_m1, (27.04,10.735), rotation=3*pi/2))
tr_sw.add(gdstk.Reference(via__li_m1, (27.4,10.735), rotation=3*pi/2))
tr_sw.add(gdstk.Reference(via__li_m1, (27.76,10.735), rotation=3*pi/2))
tr_sw.add(gdstk.Reference(via__li_m1, (28.12,10.735), rotation=3*pi/2))
tr_sw.add(gdstk.Reference(via__li_m1, (28.48,10.735), rotation=3*pi/2))
tr_sw.add(gdstk.Reference(via__li_m1, (28.84,10.735), rotation=3*pi/2))
tr_sw.add(gdstk.Reference(via__li_m1, (29.2,10.735), rotation=3*pi/2))
tr_sw.add(gdstk.Reference(via__li_m1, (29.56,10.735), rotation=3*pi/2))
tr_sw.add(gdstk.Reference(via__li_m1, (29.92,10.735), rotation=3*pi/2))
tr_sw.add(gdstk.Reference(via__li_m1, (30.28,10.735), rotation=3*pi/2))
tr_sw.add(gdstk.Reference(via__li_m1, (30.64,10.735), rotation=3*pi/2))
tr_sw.add(gdstk.Reference(via__li_m1, (31,10.735), rotation=3*pi/2))
tr_sw.add(gdstk.Reference(via__li_m1, (31.36,10.735), rotation=3*pi/2))
tr_sw.add(gdstk.Reference(via__li_m1, (31.72,10.735), rotation=3*pi/2))
tr_sw.add(gdstk.Reference(via__li_m1, (32.08,10.735), rotation=3*pi/2))
tr_sw.add(gdstk.Reference(via__li_m1, (32.44,10.735), rotation=3*pi/2))
tr_sw.add(gdstk.Reference(via__li_m1, (32.8,10.735), rotation=3*pi/2))
tr_sw.add(gdstk.Reference(via__li_m1, (33.16,10.735), rotation=3*pi/2))
tr_sw.add(gdstk.Reference(via__li_m1, (33.52,10.735), rotation=3*pi/2))
tr_sw.add(gdstk.Reference(via__li_m1, (33.88,10.735), rotation=3*pi/2))
tr_sw.add(gdstk.Reference(via__li_m1, (34.24,10.735), rotation=3*pi/2))
tr_sw.add(gdstk.Reference(via__li_m1, (34.6,10.735), rotation=3*pi/2))
tr_sw.add(gdstk.Reference(via__li_m1, (34.96,10.735), rotation=3*pi/2))
tr_sw.add(gdstk.Reference(via__li_m1, (35.32,10.735), rotation=3*pi/2))
tr_sw.add(gdstk.Reference(via__li_m1, (35.68,10.735), rotation=3*pi/2))
tr_sw.add(gdstk.Reference(via__li_m1, (36.04,10.735), rotation=3*pi/2))
tr_sw.add(gdstk.Reference(via__li_m1, (36.4,10.735), rotation=3*pi/2))
tr_sw.add(gdstk.Reference(via__li_m1, (36.76,10.735), rotation=3*pi/2))
r = gdstk.Reference(sky130_fd_pr__nfet_g5v0d, (0,0)); r.repetition = gdstk.Repetition(8, 1, v1=(4.62,0), v2=(0,0)); tr_sw.add(r)
tr_sw.add(gdstk.Label('vss', (0.14,0.19), layer=68, texttype=5))
tr_sw.add(gdstk.Label('vss', (37.47,0.19), layer=68, texttype=5))
tr_sw.add(gdstk.Label('vss', (0.14,10.48), layer=68, texttype=5))
tr_sw.add(gdstk.Label('vss', (37.47,10.48), layer=68, texttype=5))

lib.write_gds('tr_sw.gds')
